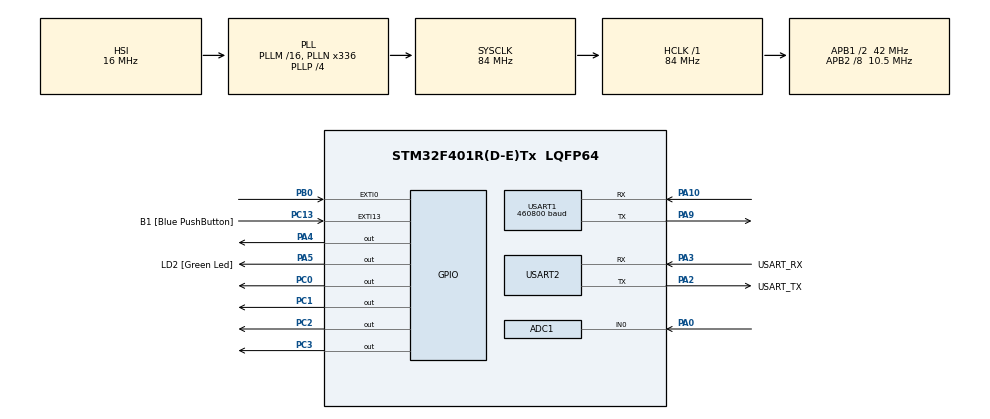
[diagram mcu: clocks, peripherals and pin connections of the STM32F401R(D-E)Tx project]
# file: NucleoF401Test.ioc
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ADC1.Channel-10\#ChannelRegularConversion=ADC_CHANNEL_0
ADC1.Channel-11\#ChannelRegularConversion=ADC_CHANNEL_0
ADC1.Channel-12\#ChannelRegularConversion=ADC_CHANNEL_0
ADC1.Channel-13\#ChannelRegularConversion=ADC_CHANNEL_0
ADC1.Channel-14\#ChannelRegularConversion=ADC_CHANNEL_0
ADC1.Channel-15\#ChannelRegularConversion=ADC_CHANNEL_0
ADC1.Channel-16\#ChannelRegularConversion=ADC_CHANNEL_0
ADC1.Channel-17\#ChannelRegularConversion=ADC_CHANNEL_0
ADC1.Channel-2\#ChannelRegularConversion=ADC_CHANNEL_0
ADC1.Channel-3\#ChannelRegularConversion=ADC_CHANNEL_0
ADC1.Channel-4\#ChannelRegularConversion=ADC_CHANNEL_0
ADC1.Channel-5\#ChannelRegularConversion=ADC_CHANNEL_0
ADC1.Channel-6\#ChannelRegularConversion=ADC_CHANNEL_0
ADC1.Channel-7\#ChannelRegularConversion=ADC_CHANNEL_0
ADC1.Channel-8\#ChannelRegularConversion=ADC_CHANNEL_0
ADC1.Channel-9\#ChannelRegularConversion=ADC_CHANNEL_0
ADC1.ClockPrescaler=ADC_CLOCK_SYNC_PCLK_DIV8
ADC1.ContinuousConvMode=ENABLE
ADC1.DMAContinuousRequests=ENABLE
ADC1.NbrOfConversion=16
ADC1.NbrOfConversionFlag=1
ADC1.Rank-10\#ChannelRegularConversion=9
ADC1.Rank-11\#ChannelRegularConversion=10
ADC1.Rank-12\#ChannelRegularConversion=11
ADC1.Rank-13\#ChannelRegularConversion=12
ADC1.Rank-14\#ChannelRegularConversion=13
ADC1.Rank-15\#ChannelRegularConversion=14
ADC1.Rank-16\#ChannelRegularConversion=15
ADC1.Rank-17\#ChannelRegularConversion=16
ADC1.Rank-2\#ChannelRegularConversion=1
ADC1.Rank-3\#ChannelRegularConversion=2
ADC1.Rank-4\#ChannelRegularConversion=3
ADC1.Rank-5\#ChannelRegularConversion=4
ADC1.Rank-6\#ChannelRegularConversion=5
ADC1.Rank-7\#ChannelRegularConversion=6
ADC1.Rank-8\#ChannelRegularConversion=7
ADC1.Rank-9\#ChannelRegularConversion=8
ADC1.Resolution=ADC_RESOLUTION_8B
ADC1.SamplingTime-10\#ChannelRegularConversion=ADC_SAMPLETIME_3CYCLES
ADC1.SamplingTime-11\#ChannelRegularConversion=ADC_SAMPLETIME_3CYCLES
ADC1.SamplingTime-12\#ChannelRegularConversion=ADC_SAMPLETIME_3CYCLES
ADC1.SamplingTime-13\#ChannelRegularConversion=ADC_SAMPLETIME_3CYCLES
ADC1.SamplingTime-14\#ChannelRegularConversion=ADC_SAMPLETIME_3CYCLES
ADC1.SamplingTime-15\#ChannelRegularConversion=ADC_SAMPLETIME_3CYCLES
ADC1.SamplingTime-16\#ChannelRegularConversion=ADC_SAMPLETIME_3CYCLES
ADC1.SamplingTime-17\#ChannelRegularConversion=ADC_SAMPLETIME_3CYCLES
ADC1.SamplingTime-2\#ChannelRegularConversion=ADC_SAMPLETIME_480CYCLES
ADC1.SamplingTime-3\#ChannelRegularConversion=ADC_SAMPLETIME_3CYCLES
ADC1.SamplingTime-4\#ChannelRegularConversion=ADC_SAMPLETIME_3CYCLES
ADC1.SamplingTime-5\#ChannelRegularConversion=ADC_SAMPLETIME_3CYCLES
ADC1.SamplingTime-6\#ChannelRegularConversion=ADC_SAMPLETIME_3CYCLES
ADC1.SamplingTime-7\#ChannelRegularConversion=ADC_SAMPLETIME_3CYCLES
ADC1.SamplingTime-8\#ChannelRegularConversion=ADC_SAMPLETIME_3CYCLES
ADC1.SamplingTime-9\#ChannelRegularConversion=ADC_SAMPLETIME_3CYCLES
ADC1.master=1
Dma.ADC1.0.Direction=DMA_PERIPH_TO_MEMORY
Dma.ADC1.0.FIFOMode=DMA_FIFOMODE_DISABLE
Dma.ADC1.0.Instance=DMA2_Stream4
Dma.ADC1.0.MemDataAlignment=DMA_MDATAALIGN_HALFWORD
Dma.ADC1.0.MemInc=DMA_MINC_ENABLE
Dma.ADC1.0.Mode=DMA_CIRCULAR
Dma.ADC1.0.PeriphDataAlignment=DMA_PDATAALIGN_HALFWORD
Dma.ADC1.0.PeriphInc=DMA_PINC_DISABLE
Dma.ADC1.0.Priority=DMA_PRIORITY_HIGH
Dma.Request0=ADC1
Dma.Request1=USART1_TX
Dma.USART1_TX.1.Direction=DMA_MEMORY_TO_PERIPH
Dma.USART1_TX.1.FIFOMode=DMA_FIFOMODE_DISABLE
Dma.USART1_TX.1.Instance=DMA2_Stream7
Dma.USART1_TX.1.MemDataAlignment=DMA_MDATAALIGN_BYTE
Dma.USART1_TX.1.MemInc=DMA_MINC_ENABLE
Dma.USART1_TX.1.Mode=DMA_NORMAL
Dma.USART1_TX.1.PeriphDataAlignment=DMA_PDATAALIGN_BYTE
Dma.USART1_TX.1.PeriphInc=DMA_PINC_DISABLE
Dma.USART1_TX.1.Priority=DMA_PRIORITY_MEDIUM
Mcu.Family=STM32F4
Mcu.Name=STM32F401R(D-E)Tx
Mcu.Package=LQFP64
NVIC.ADC_IRQn=true\:0\:0\:false\:false\:true\:true\:true
NVIC.DMA2_Stream4_IRQn=true\:0\:0\:false\:false\:true\:false\:true
NVIC.DMA2_Stream7_IRQn=true\:0\:0\:false\:false\:true\:false\:true
NVIC.EXTI0_IRQn=true\:0\:0\:false\:false\:true\:true\:true
NVIC.PriorityGroup=NVIC_PRIORITYGROUP_0
NVIC.USART1_IRQn=true\:0\:0\:false\:false\:true\:true\:true
PA0-WKUP.Signal=ADCx_IN0
PA10.Mode=Asynchronous
PA10.Signal=USART1_RX
PA13.GPIO_Label=TMS
PA13.Mode=Serial_Wire
PA13.Signal=SYS_JTMS-SWDIO
PA14.GPIO_Label=TCK
PA14.Mode=Serial_Wire
PA14.Signal=SYS_JTCK-SWCLK
PA2.GPIO_Label=USART_TX
PA2.GPIO_Mode=GPIO_MODE_AF_PP
PA2.GPIO_PuPd=GPIO_NOPULL
PA2.GPIO_Speed=GPIO_SPEED_FREQ_LOW
PA2.Mode=Asynchronous
PA2.Signal=USART2_TX
PA3.GPIO_Label=USART_RX
PA3.GPIO_Mode=GPIO_MODE_AF_PP
PA3.GPIO_PuPd=GPIO_NOPULL
PA3.GPIO_Speed=GPIO_SPEED_FREQ_LOW
PA3.Mode=Asynchronous
PA3.Signal=USART2_RX
PA4.Signal=GPIO_Output
PA5.GPIO_Label=LD2 [Green Led]
PA5.GPIO_Mode=GPIO_MODE_OUTPUT_PP
PA5.GPIO_PuPd=GPIO_NOPULL
PA5.GPIO_Speed=GPIO_SPEED_FREQ_LOW
PA5.Signal=GPIO_Output
PA9.Mode=Asynchronous
PA9.Signal=USART1_TX
PB0.Signal=GPXTI0
PB3.GPIO_Label=SWO
PB3.Signal=SYS_JTDO-SWO
PC0.Signal=GPIO_Output
PC1.Signal=GPIO_Output
PC13-ANTI_TAMP.GPIO_Label=B1 [Blue PushButton]
PC13-ANTI_TAMP.GPIO_ModeDefaultEXTI=GPIO_MODE_IT_FALLING
PC13-ANTI_TAMP.GPIO_PuPd=GPIO_NOPULL
PC13-ANTI_TAMP.Signal=GPXTI13
PC14-OSC32_IN.Mode=LSE-External-Oscillator
PC14-OSC32_IN.Signal=RCC_OSC32_IN
PC15-OSC32_OUT.Mode=LSE-External-Oscillator
PC15-OSC32_OUT.Signal=RCC_OSC32_OUT
PC2.Signal=GPIO_Output
PC3.Signal=GPIO_Output
PH0\ -\ OSC_IN.Mode=HSE-External-Clock-Source
PH0\ -\ OSC_IN.Signal=RCC_OSC_IN
PH1\ -\ OSC_OUT.Mode=HSE-External-Clock-Source
PH1\ -\ OSC_OUT.Signal=RCC_OSC_OUT
ProjectManager.HeapSize=0x200
ProjectManager.StackSize=0x400
ProjectManager.TargetToolchain=SW4STM32
RCC.48MHZClocksFreq_Value=48000000
RCC.AHBFreq_Value=84000000
RCC.APB1CLKDivider=RCC_HCLK_DIV2
RCC.APB1Freq_Value=42000000
RCC.APB1TimFreq_Value=84000000
RCC.APB2CLKDivider=RCC_HCLK_DIV8
RCC.APB2Freq_Value=10500000
RCC.APB2TimFreq_Value=21000000
RCC.CortexFreq_Value=84000000
RCC.HCLKFreq_Value=84000000
RCC.HSE_VALUE=8000000
RCC.HSI_VALUE=16000000
RCC.PLLN=336
RCC.PLLP=RCC_PLLP_DIV4
RCC.PLLQ=7
RCC.SYSCLKFreq_VALUE=84000000
RCC.SYSCLKSource=RCC_SYSCLKSOURCE_PLLCLK
RCC.VCOOutputFreq_Value=336000000
SH.ADCx_IN0.0=ADC1_IN0,IN0
USART1.BaudRate=460800
USART1.Mode=MODE_TX
USART1.VirtualMode=VM_ASYNC
USART2.VirtualMode=VM_ASYNC
board=NUCLEO-F401RE

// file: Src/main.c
/* USER CODE BEGIN Header */
/**
  ******************************************************************************
  * @file           : main.c
  * @brief          : Main program body
  ******************************************************************************
  * @attention
  *
  * <h2><center>&copy; Copyright (c) 2019 STMicroelectronics.
  * All rights reserved.</center></h2>
  *
  * This software component is licensed by ST under BSD 3-Clause license,
  * the "License"; You may not use this file except in compliance with the
  * License. You may obtain a copy of the License at:
  *                        opensource.org/licenses/BSD-3-Clause
  *
  ******************************************************************************
  */
/* USER CODE END Header */

#include "main.h"

/* USER CODE BEGIN Includes */
#include <string.h>
/* USER CODE END Includes */

/* USER CODE BEGIN PD */
#define NRB_OF_CONVERSION 		16
#define WINDOW_SIZE 			6
#define SAMPLE_NOISE_THRESHOLD 	50
#define DATA_THRESHOLD 			180
#define NO_DATA_THRESHOLD		70

typedef struct {
	int		 	SignalAVG;
	int		 	SignalSum;
	uint32_t	SamplesCount;
} DSPContext;

typedef struct {
	int 		Sum;
	uint32_t	LeftIndex;
	uint32_t	RightIndex;
	int			LeftItem;
	int			RightItem;
} SampleWindow;
/* USER CODE END PD */

ADC_HandleTypeDef hadc1;
DMA_HandleTypeDef hdma_adc1;

UART_HandleTypeDef huart1;
UART_HandleTypeDef huart2;
DMA_HandleTypeDef hdma_usart1_tx;

/* USER CODE BEGIN PV */
uint8_t BufferReadyToProcess = 0x0;

uint8_t adc_buffer[NRB_OF_CONVERSION];
uint8_t data_to_process[2][2048];
uint8_t dsp_buffers[2][2048];
short diffSignalBuffer[2048];
short temp_buffer_3[2048];

uint16_t data_to_process_index = 0;
uint8_t buffer_index = 0;
uint8_t irq_data_from_dac = 0x0;
uint8_t packets_count = 0;

/* USER CODE END PV */

void SystemClock_Config(void);
static void MX_GPIO_Init(void);
static void MX_DMA_Init(void);
static void MX_USART1_UART_Init(void);
static void MX_USART2_UART_Init(void);
static void MX_ADC1_Init(void);
/* USER CODE BEGIN PFP */
void ProcessDMADone(void);
void ProcessWindowData(void);
/* USER CODE END PFP */

/* USER CODE BEGIN 0 */
void ProcessDMADone(void) {
	// memcpy(&data_to_process[buffer_index][data_to_process_index], adc_buffer, NRB_OF_CONVERSION);
	// data_to_process_index += NRB_OF_CONVERSION;
	data_to_process[buffer_index][data_to_process_index] = adc_buffer[8];
	data_to_process_index++;

	if (data_to_process_index >= 2048) {
		data_to_process_index 	= 0x0;
		buffer_index			= 0x1 - buffer_index;
		BufferReadyToProcess 	= 0x1;
	}
	HAL_GPIO_WritePin(GPIOC,GPIO_PIN_1,0);
}

void MoveWindowRight(uint8_t* buffer, SampleWindow * window, uint16_t sample) {
	if (window->RightIndex - window->LeftIndex > WINDOW_SIZE) {
		window->LeftIndex++;
		window->LeftItem = buffer[window->LeftIndex];
	}

	if (window->RightIndex > WINDOW_SIZE) {
		window->Sum -= window->LeftItem;
	}

	window->Sum += sample;
	window->RightIndex++;
}

void AdvancedDSP(void) { /*
	SampleWindow RightWindow = {};
	SampleWindow LeftWindow  = {};
	DSPContext	 Context	 = {};

	Context.SamplesCount = 0;
	Context.SignalAVG = 0;
	Context.SignalSum = 0;

	RightWindow.LeftIndex = 0;
	RightWindow.LeftItem = 0;
	RightWindow.RightIndex = 0;
	RightWindow.RightItem = 0;
	RightWindow.Sum = 0;

	LeftWindow.LeftIndex = 0;
	LeftWindow.LeftItem = 0;
	LeftWindow.RightIndex = 0;
	LeftWindow.RightItem = 0;
	LeftWindow.Sum = 0;

	int MaxDiffPositive = 0;
	int MaxDiffNegative = 0;
	int MinDiffPositive = 0;
	int MinDiffNegative = 0;

	// Window summary difference signal
	for (uint16_t idx = 0; idx < 2048; idx++) {
		MoveWindowRight(ptrRawBuffer, &RightWindow, ptrRawBuffer[idx]);

		if (RightWindow.LeftIndex - LeftWindow.RightIndex == 1) {
			MoveWindowRight(ptrRawBuffer, &LeftWindow, ptrRawBuffer[idx - WINDOW_SIZE]);
		}

		if (ptrRawBuffer[idx] > SAMPLE_NOISE_THRESHOLD) {
			Context.SignalSum += ptrRawBuffer[idx];
			Context.SamplesCount++;
		}

		diffSignalBuffer[idx] = RightWindow.Sum - LeftWindow.Sum;
		if (diffSignalBuffer[idx] > 0) {
			if (diffSignalBuffer[idx] > MaxDiffPositive) {
				MaxDiffPositive = diffSignalBuffer[idx];
			}

			if (diffSignalBuffer[idx] < MinDiffPositive) {

			}
		} else {
			if (diffSignalBuffer[idx] < MaxDiffNegative) {
				MaxDiffNegative = diffSignalBuffer[idx];
			}
		}
	}

	Context.SignalAVG = Context.SignalSum / Context.SamplesCount;

	ptrRawBuffer = &dsp_buffers[0][0];
	for (uint16_t idx = 0; idx < 2048; idx++) {
		ptrRawBuffer[idx] = ((float)((float)(diffSignalBuffer[idx]) / (float)1000.0) * 100.0) + 100;
	}

	for (uint16_t idx = 0; idx < 2048; idx++) {
		if (diffSignalBuffer[idx] > 0) {
			if (diffSignalBuffer[idx] > MaxDiffPositive) {
				MaxDiffPositive = diffSignalBuffer[idx];
			}
		} else {
			if (diffSignalBuffer[idx] < MaxDiffNegative) {
				MaxDiffNegative = diffSignalBuffer[idx];
			}
		}

		if (diffSignalBuffer[idx] > Context.SignalAVG) {
			temp_buffer_3[idx] = Context.SignalAVG;
		} else if (diffSignalBuffer[idx] < -Context.SignalAVG) {
			temp_buffer_3[idx] = 0 - Context.SignalAVG;
		} else {
			temp_buffer_3[idx] = 0;
		}
	}

	for (uint16_t idx = 0; idx < 2048; idx++) {
		temp_buffer[idx] = ((float)((float)(temp_buffer_3[idx]) / (float)1000.0) * 100.0) + 100;
	}

	uint8_t isPulse 			= 0x0;
	uint16_t pulseSampleCount 	= 0;
	uint16_t pulseLeftIndex 	= 0;
	int prevSample 				= temp_buffer_3[0];

	for (uint16_t idx = 1; idx < 2048; idx++) {
		if (temp_buffer_3[idx] != prevSample) {
			if (!prevSample) {
				if (temp_buffer_3[idx] > 0) {
					temp_buffer[idx - 1] = 50;
					if (isPulse == 0x0) {
						pulseLeftIndex = idx -1;
					}
					isPulse = 0x1;
					pulseSampleCount++;
				} else {
					temp_buffer[idx - 1] = 50;
					isPulse = 0x1;
					pulseSampleCount++;
				}
			} else if (prevSample > 0) {
				if (temp_buffer_3[idx] == 0) {
					temp_buffer[idx - 1] = 50;
					isPulse = 0x1;
					pulseSampleCount++;
				}
			} else if (prevSample < 0) {
				if (temp_buffer_3[idx] == 0) {
					temp_buffer[idx - 1] = 0;
					isPulse = 0x0;
					pulseLeftIndex 		= 0;
					pulseSampleCount 	= 0;
				}
			}
		} else {
			if (!prevSample) {
				if (isPulse == 0x1) {
					temp_buffer[idx - 1] = 50;
					pulseSampleCount++;
				} else {
					temp_buffer[idx - 1] = 0;
				}
			} else {
				temp_buffer[idx - 1] = 50;
			}
		}
		prevSample = temp_buffer_3[idx];
	}
*/ }

void ProcessWindowData(void) {
	memcpy(&dsp_buffers[0][0], &data_to_process[buffer_index][0], 2048);
	uint8_t* ptrRawBuffer = &dsp_buffers[0][0];

	HAL_GPIO_WritePin(GPIOC,GPIO_PIN_2,1);
	HAL_GPIO_WritePin(GPIOC,GPIO_PIN_2,0);

	uint8_t state = 0x0;
	uint8_t* ptrOutBuffer = &dsp_buffers[1][0];
	for (uint16_t idx = 0; idx < 2048; idx++) {
		if (0x1 == state || 0x0 == state) {
			if (DATA_THRESHOLD < ptrRawBuffer[idx]) {
				ptrOutBuffer[idx] = 25;
				state = 0x2;
			} else {
				ptrOutBuffer[idx] = 0;
			}
		} else if (0x2 == state) {
			if (NO_DATA_THRESHOLD > ptrRawBuffer[idx]) {
				ptrOutBuffer[idx] = 0;
				state = 0x1;
			} else {
				ptrOutBuffer[idx] = 25;
			}
		}
	}

	HAL_UART_Transmit_DMA(&huart1, ptrOutBuffer, 2048);
	// Data processing section
	for (uint16_t idx = 0; idx < 3; idx++){
		HAL_GPIO_WritePin(GPIOC,GPIO_PIN_2,1);
		HAL_GPIO_WritePin(GPIOC,GPIO_PIN_2,0);
	}

	if (packets_count > 10) {
		HAL_ADC_Stop_DMA(&hadc1);
		packets_count = 0;
	}

	packets_count++;
}

void HAL_UART_TxHalfCpltCallback(UART_HandleTypeDef *huart) {
	HAL_GPIO_WritePin(GPIOA,GPIO_PIN_4,1);
	HAL_GPIO_WritePin(GPIOA,GPIO_PIN_4,0);
}

void HAL_UART_TxCpltCallback(UART_HandleTypeDef *huart) {
	HAL_GPIO_WritePin(GPIOC,GPIO_PIN_3,1);
	HAL_GPIO_WritePin(GPIOC,GPIO_PIN_3,0);
}
/* USER CODE END 0 */

int main(void)
{

  /* MCU Configuration--------------------------------------------------------*/

  /* Reset of all peripherals, Initializes the Flash interface and the Systick. */
  HAL_Init();

  /* Configure the system clock */
  SystemClock_Config();

  /* Initialize all configured peripherals */
  MX_GPIO_Init();
  MX_DMA_Init();
  MX_USART1_UART_Init();
  MX_USART2_UART_Init();
  MX_ADC1_Init();
  /* USER CODE BEGIN 2 */
  // HAL_ADC_Start_DMA(&hadc1, (uint32_t *)adc_buffer, NRB_OF_CONVERSION);
  /* USER CODE END 2 */

  /* Infinite loop */
  /* USER CODE BEGIN WHILE */
  while (1)
  {
	  if (BufferReadyToProcess) {
		  ProcessWindowData();
		  BufferReadyToProcess = 0x0;
	  }

	  if (0x1 == irq_data_from_dac) {
		  HAL_ADC_Start_DMA(&hadc1, (uint32_t *)adc_buffer, NRB_OF_CONVERSION);
		  irq_data_from_dac = 0x0;
	  }

	  HAL_GPIO_WritePin(GPIOC,GPIO_PIN_0,1);
	  HAL_GPIO_WritePin(GPIOC,GPIO_PIN_0,0);
    /* USER CODE END WHILE */

  }
}

void SystemClock_Config(void)
{
  RCC_OscInitTypeDef RCC_OscInitStruct = {0};
  RCC_ClkInitTypeDef RCC_ClkInitStruct = {0};

  /** Configure the main internal regulator output voltage
  */
  __HAL_RCC_PWR_CLK_ENABLE();
  __HAL_PWR_VOLTAGESCALING_CONFIG(PWR_REGULATOR_VOLTAGE_SCALE2);
  /** Initializes the CPU, AHB and APB busses clocks
  */
  RCC_OscInitStruct.OscillatorType = RCC_OSCILLATORTYPE_HSI;
  RCC_OscInitStruct.HSIState = RCC_HSI_ON;
  RCC_OscInitStruct.HSICalibrationValue = RCC_HSICALIBRATION_DEFAULT;
  RCC_OscInitStruct.PLL.PLLState = RCC_PLL_ON;
  RCC_OscInitStruct.PLL.PLLSource = RCC_PLLSOURCE_HSI;
  RCC_OscInitStruct.PLL.PLLM = 16;
  RCC_OscInitStruct.PLL.PLLN = 336;
  RCC_OscInitStruct.PLL.PLLP = RCC_PLLP_DIV4;
  RCC_OscInitStruct.PLL.PLLQ = 7;
  if (HAL_RCC_OscConfig(&RCC_OscInitStruct) != HAL_OK)
  {
    Error_Handler();
  }
  /** Initializes the CPU, AHB and APB busses clocks
  */
  RCC_ClkInitStruct.ClockType = RCC_CLOCKTYPE_HCLK|RCC_CLOCKTYPE_SYSCLK
                              |RCC_CLOCKTYPE_PCLK1|RCC_CLOCKTYPE_PCLK2;
  RCC_ClkInitStruct.SYSCLKSource = RCC_SYSCLKSOURCE_PLLCLK;
  RCC_ClkInitStruct.AHBCLKDivider = RCC_SYSCLK_DIV1;
  RCC_ClkInitStruct.APB1CLKDivider = RCC_HCLK_DIV2;
  RCC_ClkInitStruct.APB2CLKDivider = RCC_HCLK_DIV8;

  if (HAL_RCC_ClockConfig(&RCC_ClkInitStruct, FLASH_LATENCY_2) != HAL_OK)
  {
    Error_Handler();
  }
}

static void MX_ADC1_Init(void)
{

  ADC_ChannelConfTypeDef sConfig = {0};

  /** Configure the global features of the ADC (Clock, Resolution, Data Alignment and number of conversion)
  */
  hadc1.Instance = ADC1;
  hadc1.Init.ClockPrescaler = ADC_CLOCK_SYNC_PCLK_DIV8;
  hadc1.Init.Resolution = ADC_RESOLUTION_8B;
  hadc1.Init.ScanConvMode = ENABLE;
  hadc1.Init.ContinuousConvMode = ENABLE;
  hadc1.Init.DiscontinuousConvMode = DISABLE;
  hadc1.Init.ExternalTrigConvEdge = ADC_EXTERNALTRIGCONVEDGE_NONE;
  hadc1.Init.ExternalTrigConv = ADC_SOFTWARE_START;
  hadc1.Init.DataAlign = ADC_DATAALIGN_RIGHT;
  hadc1.Init.NbrOfConversion = 16;
  hadc1.Init.DMAContinuousRequests = ENABLE;
  hadc1.Init.EOCSelection = ADC_EOC_SINGLE_CONV;
  if (HAL_ADC_Init(&hadc1) != HAL_OK)
  {
    Error_Handler();
  }
  /** Configure for the selected ADC regular channel its corresponding rank in the sequencer and its sample time.
  */
  sConfig.Channel = ADC_CHANNEL_0;
  sConfig.Rank = 1;
  sConfig.SamplingTime = ADC_SAMPLETIME_480CYCLES;
  if (HAL_ADC_ConfigChannel(&hadc1, &sConfig) != HAL_OK)
  {
    Error_Handler();
  }
  /** Configure for the selected ADC regular channel its corresponding rank in the sequencer and its sample time.
  */
  sConfig.Rank = 2;
  sConfig.SamplingTime = ADC_SAMPLETIME_3CYCLES;
  if (HAL_ADC_ConfigChannel(&hadc1, &sConfig) != HAL_OK)
  {
    Error_Handler();
  }
  /** Configure for the selected ADC regular channel its corresponding rank in the sequencer and its sample time.
  */
  sConfig.Rank = 3;
  if (HAL_ADC_ConfigChannel(&hadc1, &sConfig) != HAL_OK)
  {
    Error_Handler();
  }
  /** Configure for the selected ADC regular channel its corresponding rank in the sequencer and its sample time.
  */
  sConfig.Rank = 4;
  if (HAL_ADC_ConfigChannel(&hadc1, &sConfig) != HAL_OK)
  {
    Error_Handler();
  }
  /** Configure for the selected ADC regular channel its corresponding rank in the sequencer and its sample time.
  */
  sConfig.Rank = 5;
  if (HAL_ADC_ConfigChannel(&hadc1, &sConfig) != HAL_OK)
  {
    Error_Handler();
  }
  /** Configure for the selected ADC regular channel its corresponding rank in the sequencer and its sample time.
  */
  sConfig.Rank = 6;
  if (HAL_ADC_ConfigChannel(&hadc1, &sConfig) != HAL_OK)
  {
    Error_Handler();
  }
  /** Configure for the selected ADC regular channel its corresponding rank in the sequencer and its sample time.
  */
  sConfig.Rank = 7;
  if (HAL_ADC_ConfigChannel(&hadc1, &sConfig) != HAL_OK)
  {
    Error_Handler();
  }
  /** Configure for the selected ADC regular channel its corresponding rank in the sequencer and its sample time.
  */
  sConfig.Rank = 8;
  if (HAL_ADC_ConfigChannel(&hadc1, &sConfig) != HAL_OK)
  {
    Error_Handler();
  }
  /** Configure for the selected ADC regular channel its corresponding rank in the sequencer and its sample time.
  */
  sConfig.Rank = 9;
  if (HAL_ADC_ConfigChannel(&hadc1, &sConfig) != HAL_OK)
  {
    Error_Handler();
  }
  /** Configure for the selected ADC regular channel its corresponding rank in the sequencer and its sample time.
  */
  sConfig.Rank = 10;
  if (HAL_ADC_ConfigChannel(&hadc1, &sConfig) != HAL_OK)
  {
    Error_Handler();
  }
  /** Configure for the selected ADC regular channel its corresponding rank in the sequencer and its sample time.
  */
  sConfig.Rank = 11;
  if (HAL_ADC_ConfigChannel(&hadc1, &sConfig) != HAL_OK)
  {
    Error_Handler();
  }
  /** Configure for the selected ADC regular channel its corresponding rank in the sequencer and its sample time.
  */
  sConfig.Rank = 12;
  if (HAL_ADC_ConfigChannel(&hadc1, &sConfig) != HAL_OK)
  {
    Error_Handler();
  }
  /** Configure for the selected ADC regular channel its corresponding rank in the sequencer and its sample time.
  */
  sConfig.Rank = 13;
  if (HAL_ADC_ConfigChannel(&hadc1, &sConfig) != HAL_OK)
  {
    Error_Handler();
  }
  /** Configure for the selected ADC regular channel its corresponding rank in the sequencer and its sample time.
  */
  sConfig.Rank = 14;
  if (HAL_ADC_ConfigChannel(&hadc1, &sConfig) != HAL_OK)
  {
    Error_Handler();
  }
  /** Configure for the selected ADC regular channel its corresponding rank in the sequencer and its sample time.
  */
  sConfig.Rank = 15;
  if (HAL_ADC_ConfigChannel(&hadc1, &sConfig) != HAL_OK)
  {
    Error_Handler();
  }
  /** Configure for the selected ADC regular channel its corresponding rank in the sequencer and its sample time.
  */
  sConfig.Rank = 16;
  if (HAL_ADC_ConfigChannel(&hadc1, &sConfig) != HAL_OK)
  {
    Error_Handler();
  }

}

static void MX_USART1_UART_Init(void)
{

  huart1.Instance = USART1;
  huart1.Init.BaudRate = 460800;
  huart1.Init.WordLength = UART_WORDLENGTH_8B;
  huart1.Init.StopBits = UART_STOPBITS_1;
  huart1.Init.Parity = UART_PARITY_NONE;
  huart1.Init.Mode = UART_MODE_TX;
  huart1.Init.HwFlowCtl = UART_HWCONTROL_NONE;
  huart1.Init.OverSampling = UART_OVERSAMPLING_16;
  if (HAL_UART_Init(&huart1) != HAL_OK)
  {
    Error_Handler();
  }

}

static void MX_USART2_UART_Init(void)
{

  huart2.Instance = USART2;
  huart2.Init.BaudRate = 115200;
  huart2.Init.WordLength = UART_WORDLENGTH_8B;
  huart2.Init.StopBits = UART_STOPBITS_1;
  huart2.Init.Parity = UART_PARITY_NONE;
  huart2.Init.Mode = UART_MODE_TX_RX;
  huart2.Init.HwFlowCtl = UART_HWCONTROL_NONE;
  huart2.Init.OverSampling = UART_OVERSAMPLING_16;
  if (HAL_UART_Init(&huart2) != HAL_OK)
  {
    Error_Handler();
  }

}

static void MX_DMA_Init(void)
{
  /* DMA controller clock enable */
  __HAL_RCC_DMA2_CLK_ENABLE();

  /* DMA interrupt init */
  /* DMA2_Stream4_IRQn interrupt configuration */
  HAL_NVIC_SetPriority(DMA2_Stream4_IRQn, 0, 0);
  HAL_NVIC_EnableIRQ(DMA2_Stream4_IRQn);
  /* DMA2_Stream7_IRQn interrupt configuration */
  HAL_NVIC_SetPriority(DMA2_Stream7_IRQn, 0, 0);
  HAL_NVIC_EnableIRQ(DMA2_Stream7_IRQn);

}

static void MX_GPIO_Init(void)
{
  GPIO_InitTypeDef GPIO_InitStruct = {0};

  /* GPIO Ports Clock Enable */
  __HAL_RCC_GPIOC_CLK_ENABLE();
  __HAL_RCC_GPIOH_CLK_ENABLE();
  __HAL_RCC_GPIOA_CLK_ENABLE();
  __HAL_RCC_GPIOB_CLK_ENABLE();

  /*Configure GPIO pin Output Level */
  HAL_GPIO_WritePin(GPIOC, GPIO_PIN_0|GPIO_PIN_1|GPIO_PIN_2|GPIO_PIN_3, GPIO_PIN_RESET);

  /*Configure GPIO pin Output Level */
  HAL_GPIO_WritePin(GPIOA, GPIO_PIN_4|LD2_Pin, GPIO_PIN_RESET);

  /*Configure GPIO pin : B1_Pin */
  GPIO_InitStruct.Pin = B1_Pin;
  GPIO_InitStruct.Mode = GPIO_MODE_IT_FALLING;
  GPIO_InitStruct.Pull = GPIO_NOPULL;
  HAL_GPIO_Init(B1_GPIO_Port, &GPIO_InitStruct);

  /*Configure GPIO pins : PC0 PC1 PC2 PC3 */
  GPIO_InitStruct.Pin = GPIO_PIN_0|GPIO_PIN_1|GPIO_PIN_2|GPIO_PIN_3;
  GPIO_InitStruct.Mode = GPIO_MODE_OUTPUT_PP;
  GPIO_InitStruct.Pull = GPIO_NOPULL;
  GPIO_InitStruct.Speed = GPIO_SPEED_FREQ_LOW;
  HAL_GPIO_Init(GPIOC, &GPIO_InitStruct);

  /*Configure GPIO pins : PA4 LD2_Pin */
  GPIO_InitStruct.Pin = GPIO_PIN_4|LD2_Pin;
  GPIO_InitStruct.Mode = GPIO_MODE_OUTPUT_PP;
  GPIO_InitStruct.Pull = GPIO_NOPULL;
  GPIO_InitStruct.Speed = GPIO_SPEED_FREQ_LOW;
  HAL_GPIO_Init(GPIOA, &GPIO_InitStruct);

  /*Configure GPIO pin : PB0 */
  GPIO_InitStruct.Pin = GPIO_PIN_0;
  GPIO_InitStruct.Mode = GPIO_MODE_IT_RISING;
  GPIO_InitStruct.Pull = GPIO_NOPULL;
  HAL_GPIO_Init(GPIOB, &GPIO_InitStruct);

  /* EXTI interrupt init*/
  HAL_NVIC_SetPriority(EXTI0_IRQn, 0, 0);
  HAL_NVIC_EnableIRQ(EXTI0_IRQn);

}

void Error_Handler(void)
{
}

/************************ (C) COPYRIGHT STMicroelectronics *****END OF FILE****/
